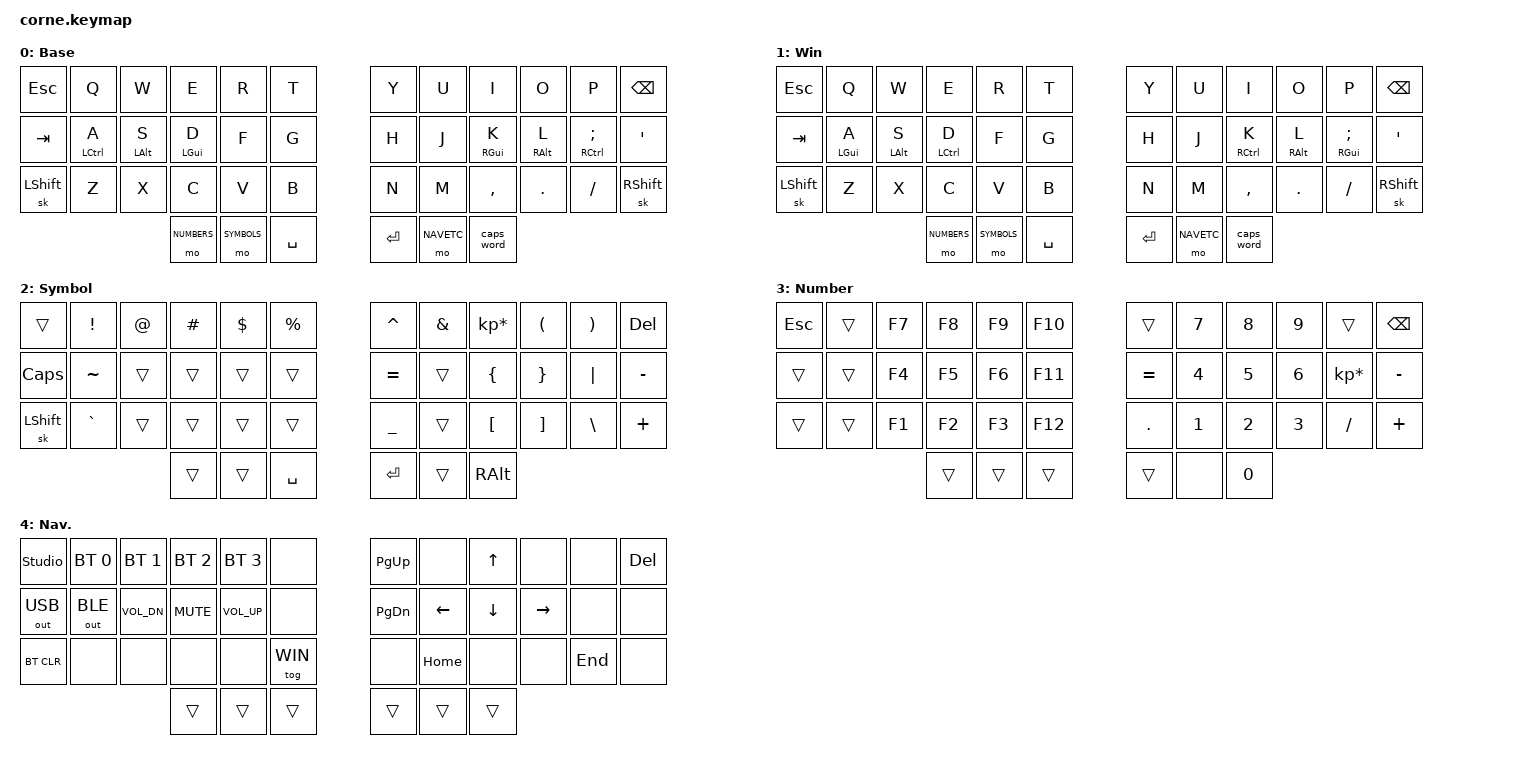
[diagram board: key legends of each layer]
/*
 * Copyright (c) 2020 The ZMK Contributors
 *
 * SPDX-License-Identifier: MIT
 */

#include <behaviors.dtsi>
#include <dt-bindings/zmk/keys.h>
#include <dt-bindings/zmk/bt.h>
#include <dt-bindings/zmk/outputs.h>

#define DEFAULT 0
#define WIN 1
#define SYMBOLS 2
#define NUMBERS 3
#define NAVETC 4

/* ---------------------------------------------------------------------------
 * Key position map for the Corne 6-column layout (42 keys).
 * These indices are what `hold-trigger-key-positions` below refers to.
 *
 *    0  1  2  3  4  5        6  7  8  9 10 11
 *   12 13 14 15 16 17       18 19 20 21 22 23
 *   24 25 26 27 28 29       30 31 32 33 34 35
 *            36 37 38       39 40 41
 * ------------------------------------------------------------------------ */

#define KEYS_L  0  1  2  3  4  5 12 13 14 15 16 17 24 25 26 27 28 29
#define KEYS_R  6  7  8  9 10 11 18 19 20 21 22 23 30 31 32 33 34 35
#define THUMBS 36 37 38 39 40 41

/ {
        behaviors {
            /*
             * Home row mods, split per hand so that a hold can only be
             * resolved by a key on the OPPOSITE half (or a thumb).
             *
             *  hold-trigger-key-positions -> a same-hand roll such as "sd"
             *      or "df" can never produce ALT+D / GUI+F. It becomes a tap.
             *  require-prior-idle-ms      -> if you pressed any other key in
             *      the last 150ms you are mid-flow, so the key taps instantly
             *      no matter how long you hold it. This is the single biggest
             *      fix for fast typing.
             *  hold-trigger-on-release    -> defers the positional check to
             *      release, so same-hand mod chords (e.g. CTRL+SHIFT) still
             *      work.
             *  quick-tap-ms               -> tap the same key twice quickly
             *      and the second press repeats the letter instead of holding
             *      a modifier (useful for key repeat).
             *
             * The tapping term is long (280ms) on purpose: with the guards
             * above, holds are decided by intent rather than by a stopwatch,
             * so a long term costs nothing and stops accidental mods.
             */
            hml: homerow_mods_left {
                compatible = "zmk,behavior-hold-tap";
                display-name = "Home Row Mod Left";
                #binding-cells = <2>;
                flavor = "balanced";
                tapping-term-ms = <200>;
                quick-tap-ms = <175>;
                require-prior-idle-ms = <150>;
                hold-trigger-key-positions = <KEYS_R THUMBS>;
                hold-trigger-on-release;
                bindings = <&kp>, <&kp>;
            };

            hmr: homerow_mods_right {
                compatible = "zmk,behavior-hold-tap";
                display-name = "Home Row Mod Right";
                #binding-cells = <2>;
                flavor = "balanced";
                tapping-term-ms = <200>;
                quick-tap-ms = <175>;
                require-prior-idle-ms = <150>;
                hold-trigger-key-positions = <KEYS_L THUMBS>;
                hold-trigger-on-release;
                bindings = <&kp>, <&kp>;
            };

        };
};

/*
 * The outer pinky SHIFT keys are sticky (&sk), not plain &kp.
 *
 * Tap and release one and shift is armed: the next key pressed comes out
 * shifted and shift clears itself. Because the two presses never overlap
 * there is no hold-versus-tap decision to lose, which is the failure that
 * pushed shift off the home row in the first place.
 *
 * Holding one still works exactly like an ordinary shift -- everything
 * typed while it is down is shifted -- so this only adds a way to use
 * them, it does not take one away.
 *
 * Stock &sk properties: release-after-ms = 1000 (disarms itself if you
 * hesitate) and ignore-modifiers (arming shift then holding CTRL gives
 * CTRL+SHIFT rather than the shift being swallowed).
 */

/ {
        keymap {
                compatible = "zmk,keymap";

                default_layer {
                // label to be shown on the display:
                display-name = " Base";
// ----------------------------------------------------------------------------------------------------------------
// | ESC  |  Q  |  W  |  E  |  R  |  T  |                                   |  Y  |  U   |  I  |  O  |  P  | BKSP |
// | TAB  |  A  |  S  |  D  |  F  |  G  |                                   |  H  |  J   |  K  |  L  |  ;  |  '   |
// | SHFT |  Z  |  X  |  C  |  V  |  B  |                                   |  N  |  M   |  ,  |  .  |  /  | SHFT |
//                    | NUM | SYMB| SPC |                                   | ENT | NAVETC  | CAPSW |
                        bindings = <
   &kp ESC   &kp Q &kp W &kp E &kp R &kp T                            &kp Y   &kp U   &kp I     &kp O    &kp P     &kp BSPC
   &kp TAB   &hml LCTRL A &hml LALT S &hml LGUI D &kp F        &kp G  &kp H &kp J        &hmr RGUI K &hmr RALT L &hmr RCTRL SEMI &kp SQT
   &sk LSHFT &kp Z &kp X &kp C &kp V &kp B                            &kp N   &kp M   &kp COMMA &kp DOT  &kp FSLH  &sk RSHFT
             &mo NUMBERS &mo SYMBOLS &kp SPACE                        &kp RET &mo NAVETC &caps_word
                        >;
                };

                windows_layer {
                // label to be shown on the display:
                display-name = " Win";
// ---------------------------------------------------------------------------------------------------------
// | ESC  |  Q  |  W  |  E  |  R  |  T  |                            |  Y  |  U   |  I  |  O  |  P  | BKSP |
// | TAB  |  A  |  S  |  D  |  F  |  G  |                            |  H  |  J   |  K  |  L  |  ;  |  '   |
// | SHFT |  Z  |  X  |  C  |  V  |  B  |                            |  N  |  M   |  ,  |  .  |  /  | SHFT |
//                    | NUM | SYMB| SPC |                            | ENT | NAVETC  | CAPSW |
                        bindings = <
   &kp ESC   &kp Q &kp W &kp E &kp R &kp T                            &kp Y &kp U   &kp I     &kp O    &kp P     &kp BSPC
   &kp TAB   &hml LGUI A &hml LALT S &hml LCTRL D &kp F        &kp G  &kp H &kp J        &hmr RCTRL K &hmr RALT L &hmr RGUI SEMI &kp SQT
   &sk LSHFT &kp Z &kp X &kp C &kp V &kp B                            &kp N &kp M   &kp COMMA &kp DOT  &kp FSLH  &sk RSHFT
                  &mo NUMBERS &mo SYMBOLS &kp SPACE                   &kp RET &mo NAVETC &caps_word
                        >;
                };

                symbols_layer {
                // label to be shown on the display:
                display-name = " Symbol";
// ----------------------------------------------------------------------------------------------------------
// |      |  !  |   @  |  #  |  $  |  %  |                             |  ^  |  &  |  *  |  (  |  )  | DEL  |
// | CAPS |  ~  |      |     |     |     |                             |  =  |     |  {  |  }  | "|" |  -   |
// | SHFT |  `  |      |     |     |     |                             |  _  |     |  [  |  ]  |  \  |  +   |
//                     |     |     | SPC |                             | ENT |     | ALT |
                        bindings = <
   &trans    &kp EXCL  &kp AT   &kp HASH  &kp DLLR  &kp PRCNT        &kp CARET &kp AMPS  &kp KP_MULTIPLY &kp LPAR &kp RPAR &kp DEL
   &kp CAPS  &kp TILDE &trans   &trans    &trans    &trans           &kp EQUAL &trans    &kp LBRC        &kp RBRC &kp PIPE &kp MINUS
   &sk LSHFT &kp GRAVE &trans   &trans    &trans    &trans           &kp UNDER &trans    &kp LBKT        &kp RBKT &kp BSLH &kp PLUS
                                &trans    &trans    &kp SPACE        &kp RET &trans &kp RALT
                        >;
                };

                numbers_layer {
                // label to be shown on the display:
                display-name = " Number";
// -------------------------------------------------------------------------------------------------------
// | ESC |      |  F7  |  F8   |  F9   |  F10  |                   |       |  7  |  8  |  9  |     | BKSP|
// |     |      |  F4  |  F5   |  F6   |  F11  |                   |   =   |  4  |  5  |  6  |  *  |  -  |
// |     |      |  F1  |  F2   |  F3   |  F12  |                   |   .   |  1  |  2  |  3  |  /  |  +  |
//                     | trans | trans | trans |                   | trans |     |  0  |
                        bindings = <
   &kp ESC  &trans &kp F7 &kp F8 &kp F9 &kp F10                    &trans    &kp N7 &kp N8 &kp N9 &trans          &kp BSPC
   &trans   &trans &kp F4 &kp F5 &kp F6 &kp F11                    &kp EQUAL &kp N4 &kp N5 &kp N6 &kp KP_MULTIPLY &kp MINUS
   &trans   &trans &kp F1 &kp F2 &kp F3 &kp F12                    &kp DOT   &kp N1 &kp N2 &kp N3 &kp FSLH        &kp PLUS
                          &trans &trans &trans                     &trans &none &kp N0 
                        >;
                };

                navi_layer {
                // label to be shown on the display:
                display-name = " Nav.";
// --------------------------------------------------------------------------------------------------------------------------
// | STUDIO | BT_SEL 0 | BT_SEL 1 | BT_SEL 2 | BT_SEL 3 |       |                 | PG_UP |      | UP   |       |      | DEL|
// | USB    | BLE      | C_VOL_DN | K_MUTE   | C_VOL_UP |       |                 | PG_DN | LEFT | DOWN | RIGHT |      |    |
// | BT_CLR |          |          |          |          |tog WIN|                 |       | HOME |      |       | END  |    |
//                     |          | trans    | trans    | trans |                 | trans | trans| trans|
                        bindings = <
   &studio_unlock &bt BT_SEL 0 &bt BT_SEL 1 &bt BT_SEL 2 &bt BT_SEL 3 &none      &kp PG_UP  &none     &kp UP   &none     &none     &kp DEL
   &out OUT_USB   &out OUT_BLE &kp C_VOL_DN &kp K_MUTE   &kp C_VOL_UP &none      &kp PG_DN  &kp LEFT  &kp DOWN &kp RIGHT &none     &none
   &bt BT_CLR     &none        &none        &none        &none        &tog WIN   &none      &kp HOME  &none    &none     &kp END   &none 
                                            &trans       &trans      &trans      &trans     &trans    &trans 
                        >;
                };

                /*
                 * Empty spare layers. They are ignored by normal builds and
                 * only become available when the firmware is built with
                 * ZMK Studio enabled, where you can fill and name them from
                 * the Studio UI without reflashing.
                 */
                extra_1 { status = "reserved"; };
                extra_2 { status = "reserved"; };

        };
};
